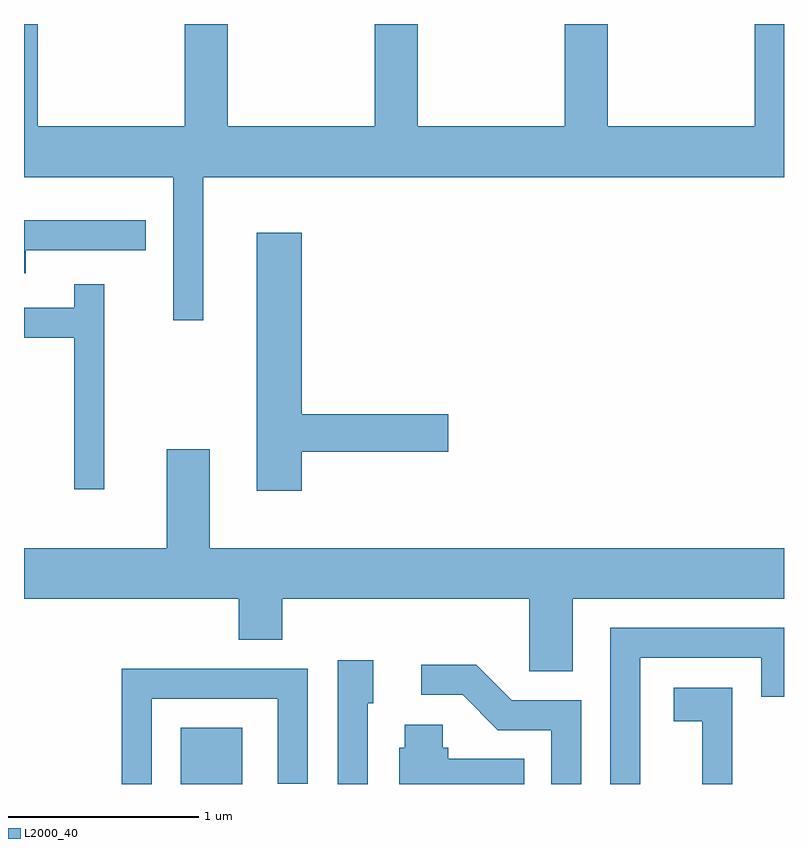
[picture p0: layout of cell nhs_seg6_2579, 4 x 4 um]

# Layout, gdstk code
import gdstk
lib = gdstk.Library(unit=1e-6, precision=1e-09)
def R(c, l, rs):  # rectangles x0, y0, x1, y1
    for r in rs: c.add(gdstk.rectangle(r[:2], r[2:], *l))
def P(c, l, *ps):  # polygons
    for p in ps: c.add(gdstk.Polygon(p, *l))
L2000_40 = (2000, 40)

nhs_seg6_2579 = lib.new_cell('nhs_seg6_2579')
R(nhs_seg6_2579, L2000_40, [(264.436,1560.162,264.759,1560.459)])
P(nhs_seg6_2579, L2000_40, [(264.456,1563.624),(263.684,1563.624),(263.684,1564.162),(263.611,1564.162),(263.611,1563.356),(264.396,1563.356),(264.396,1562.603),(264.554,1562.603),(264.554,1563.356),(267.611,1563.356),(267.611,1564.162),(267.456,1564.162),(267.456,1563.624),(266.684,1563.624),(266.684,1564.162),(266.456,1564.162),(266.456,1563.624),(265.684,1563.624),(265.684,1564.162),(265.456,1564.162),(265.456,1563.624),(264.684,1563.624),(264.684,1564.162),(264.456,1564.162)],
  [(263.619,1562.971),(264.253,1562.971),(264.253,1563.129),(263.611,1563.129),(263.611,1562.851),(263.619,1562.851)],
  [(265.074,1561.911),(265.844,1561.911),(265.844,1562.109),(265.074,1562.109),(265.074,1563.064),(264.836,1563.064),(264.836,1561.706),(265.074,1561.706)],
  [(264.034,1562.793),(263.876,1562.793),(263.876,1562.669),(263.611,1562.669),(263.611,1562.511),(263.876,1562.511),(263.876,1561.713),(264.034,1561.713)],
  [(266.499,1561.136),(267.611,1561.136),(267.611,1561.404),(264.589,1561.404),(264.589,1561.924),(264.361,1561.924),(264.361,1561.404),(263.611,1561.404),(263.611,1561.136),(264.741,1561.136),(264.741,1560.921),(264.969,1560.921),(264.969,1561.136),(266.271,1561.136),(266.271,1560.756),(266.499,1560.756)],
  [(266.854,1560.826),(267.491,1560.826),(267.491,1560.621),(267.611,1560.621),(267.611,1560.984),(266.696,1560.984),(266.696,1560.162),(266.854,1560.162)],
  [(265.419,1560.586),(265.449,1560.586),(265.449,1560.814),(265.261,1560.814),(265.261,1560.162),(265.419,1560.162)],
  [(266.544,1560.604),(266.177,1560.604),(265.992,1560.789),(265.703,1560.789),(265.703,1560.631),(265.919,1560.631),(266.104,1560.446),(266.386,1560.446),(266.386,1560.162),(266.544,1560.162)],
  [(264.284,1560.611),(264.946,1560.611),(264.946,1560.163),(265.104,1560.163),(265.104,1560.769),(264.126,1560.769),(264.126,1560.162),(264.284,1560.162)],
  [(267.339,1560.669),(267.031,1560.669),(267.031,1560.491),(267.181,1560.491),(267.181,1560.162),(267.339,1560.162)],
  [(266.243,1560.294),(265.844,1560.294),(265.844,1560.354),(265.814,1560.354),(265.814,1560.474),(265.616,1560.474),(265.616,1560.354),(265.586,1560.354),(265.586,1560.162),(266.243,1560.162)])

lib.write_gds('nhs_seg6_2579.gds')
